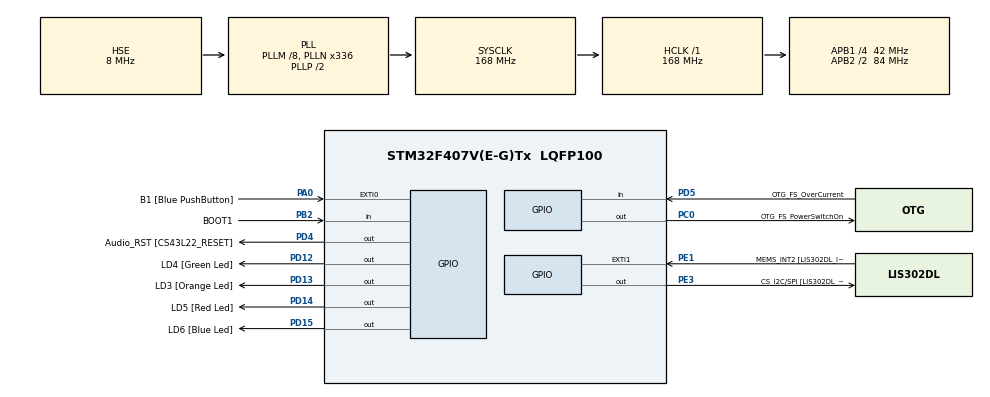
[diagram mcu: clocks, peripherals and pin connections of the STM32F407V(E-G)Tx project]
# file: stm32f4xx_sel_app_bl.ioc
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Mcu.Family=STM32F4
Mcu.Name=STM32F407V(E-G)Tx
Mcu.Package=LQFP100
NVIC.PriorityGroup=NVIC_PRIORITYGROUP_0
PA0-WKUP.GPIO_Label=B1 [Blue PushButton]
PA0-WKUP.GPIO_ModeDefaultEXTI=GPIO_MODE_EVT_RISING
PA0-WKUP.GPIO_PuPd=GPIO_NOPULL
PA0-WKUP.Signal=GPXTI0
PA10.GPIO_Label=OTG_FS_ID
PA10.GPIO_Mode=GPIO_MODE_AF_PP
PA10.GPIO_PuPd=GPIO_NOPULL
PA10.GPIO_Speed=GPIO_SPEED_FREQ_LOW
PA10.Signal=USB_OTG_FS_ID
PA11.GPIO_Label=OTG_FS_DM
PA11.GPIO_Mode=GPIO_MODE_AF_PP
PA11.GPIO_PuPd=GPIO_NOPULL
PA11.GPIO_Speed=GPIO_SPEED_FREQ_LOW
PA11.Signal=USB_OTG_FS_DM
PA12.GPIO_Label=OTG_FS_DP
PA12.GPIO_Mode=GPIO_MODE_AF_PP
PA12.GPIO_PuPd=GPIO_NOPULL
PA12.GPIO_Speed=GPIO_SPEED_FREQ_LOW
PA12.Signal=USB_OTG_FS_DP
PA13.GPIO_Label=SWDIO
PA13.Mode=Serial_Wire
PA13.Signal=SYS_JTMS-SWDIO
PA14.GPIO_Label=SWCLK
PA14.Mode=Serial_Wire
PA14.Signal=SYS_JTCK-SWCLK
PA4.GPIO_Label=I2S3_WS [CS43L22_LRCK]
PA4.GPIO_Mode=GPIO_MODE_AF_PP
PA4.GPIO_PuPd=GPIO_NOPULL
PA4.GPIO_Speed=GPIO_SPEED_FREQ_LOW
PA4.Signal=I2S3_WS
PA5.GPIO_Label=SPI1_SCK [LIS302DL_SCL/SPC]
PA5.GPIO_Mode=GPIO_MODE_AF_PP
PA5.GPIO_PuPd=GPIO_NOPULL
PA5.GPIO_Speed=GPIO_SPEED_FREQ_LOW
PA5.Signal=SPI1_SCK
PA6.GPIO_Label=SPI1_MISO [LIS302DL_SDO]
PA6.GPIO_Mode=GPIO_MODE_AF_PP
PA6.GPIO_PuPd=GPIO_NOPULL
PA6.GPIO_Speed=GPIO_SPEED_FREQ_LOW
PA6.Signal=SPI1_MISO
PA7.GPIO_Label=SPI1_MOSI [LIS302DL_SDA/SDI/SDO]
PA7.GPIO_Mode=GPIO_MODE_AF_PP
PA7.GPIO_PuPd=GPIO_NOPULL
PA7.GPIO_Speed=GPIO_SPEED_FREQ_LOW
PA7.Signal=SPI1_MOSI
PA9.GPIO_Label=VBUS_FS
PA9.GPIO_Mode=GPIO_MODE_INPUT
PA9.GPIO_PuPd=GPIO_NOPULL
PA9.Signal=USB_OTG_FS_VBUS
PB10.GPIO_Label=CLK_IN [MP45DT02_CLK]
PB10.GPIO_Mode=GPIO_MODE_AF_PP
PB10.GPIO_PuPd=GPIO_NOPULL
PB10.GPIO_Speed=GPIO_SPEED_FREQ_LOW
PB10.Signal=I2S2_CK
PB2.GPIO_Label=BOOT1
PB2.GPIO_Mode=GPIO_MODE_INPUT
PB2.GPIO_PuPd=GPIO_NOPULL
PB2.Signal=GPIO_Input
PB3.GPIO_Label=SWO
PB3.Signal=SYS_JTDO-SWO
PB6.GPIO_Label=Audio_SCL [CS43L22_SCL]
PB6.GPIO_Mode=GPIO_MODE_AF_OD
PB6.GPIO_Pu=GPIO_PULLUP
PB6.GPIO_PuPd=GPIO_NOPULL
PB6.GPIO_Speed=GPIO_SPEED_FREQ_LOW
PB6.Signal=I2C1_SCL
PB9.GPIO_Label=Audio_SDA [CS43L22_SDA]
PB9.GPIO_Mode=GPIO_MODE_AF_OD
PB9.GPIO_Pu=GPIO_PULLUP
PB9.GPIO_PuPd=GPIO_NOPULL
PB9.GPIO_Speed=GPIO_SPEED_FREQ_LOW
PB9.Signal=I2C1_SDA
PC0.GPIO_Label=OTG_FS_PowerSwitchOn
PC0.GPIO_PuPd=GPIO_NOPULL
PC0.GPIO_Speed=GPIO_SPEED_FREQ_LOW
PC0.PinState=GPIO_PIN_SET
PC0.Signal=GPIO_Output
PC10.GPIO_Label=I2S3_SCK [CS43L22_SCLK]
PC10.GPIO_Mode=GPIO_MODE_AF_PP
PC10.GPIO_PuPd=GPIO_NOPULL
PC10.GPIO_Speed=GPIO_SPEED_FREQ_LOW
PC10.Signal=I2S3_CK
PC12.GPIO_Label=I2S3_SD [CS43L22_SDIN]
PC12.GPIO_Mode=GPIO_MODE_AF_PP
PC12.GPIO_PuPd=GPIO_NOPULL
PC12.GPIO_Speed=GPIO_SPEED_FREQ_LOW
PC12.Signal=I2S3_SD
PC14-OSC32_IN.GPIO_Label=PC14-OSC32_IN
PC14-OSC32_IN.Mode=LSE-External-Oscillator
PC14-OSC32_IN.Signal=RCC_OSC32_IN
PC15-OSC32_OUT.GPIO_Label=PC15-OSC32_OUT
PC15-OSC32_OUT.Mode=LSE-External-Oscillator
PC15-OSC32_OUT.Signal=RCC_OSC32_OUT
PC3.GPIO_Label=PDM_OUT [MP45DT02_DOUT]
PC3.GPIO_Mode=GPIO_MODE_AF_PP
PC3.GPIO_PuPd=GPIO_NOPULL
PC3.GPIO_Speed=GPIO_SPEED_FREQ_LOW
PC3.Signal=I2S2_SD
PC7.GPIO_Label=I2S3_MCK [CS43L22_MCLK]
PC7.GPIO_Mode=GPIO_MODE_AF_PP
PC7.GPIO_PuPd=GPIO_NOPULL
PC7.GPIO_Speed=GPIO_SPEED_FREQ_LOW
PC7.Signal=I2S3_MCK
PD12.GPIO_Label=LD4 [Green Led]
PD12.GPIO_PuPd=GPIO_NOPULL
PD12.GPIO_Speed=GPIO_SPEED_FREQ_LOW
PD12.Signal=GPIO_Output
PD13.GPIO_Label=LD3 [Orange Led]
PD13.GPIO_PuPd=GPIO_NOPULL
PD13.GPIO_Speed=GPIO_SPEED_FREQ_LOW
PD13.Signal=GPIO_Output
PD14.GPIO_Label=LD5 [Red Led]
PD14.GPIO_PuPd=GPIO_NOPULL
PD14.GPIO_Speed=GPIO_SPEED_FREQ_LOW
PD14.Signal=GPIO_Output
PD15.GPIO_Label=LD6 [Blue Led]
PD15.GPIO_PuPd=GPIO_NOPULL
PD15.GPIO_Speed=GPIO_SPEED_FREQ_LOW
PD15.Signal=GPIO_Output
PD4.GPIO_Label=Audio_RST [CS43L22_RESET]
PD4.GPIO_PuPd=GPIO_NOPULL
PD4.GPIO_Speed=GPIO_SPEED_FREQ_LOW
PD4.Signal=GPIO_Output
PD5.GPIO_Label=OTG_FS_OverCurrent
PD5.GPIO_Mode=GPIO_MODE_INPUT
PD5.GPIO_PuPd=GPIO_NOPULL
PD5.Signal=GPIO_Input
PE1.GPIO_Label=MEMS_INT2 [LIS302DL_INT2]
PE1.GPIO_ModeDefaultEXTI=GPIO_MODE_EVT_RISING
PE1.GPIO_PuPd=GPIO_NOPULL
PE1.Signal=GPXTI1
PE3.GPIO_Label=CS_I2C/SPI [LIS302DL_CS_I2C/SPI]
PE3.GPIO_PuPd=GPIO_NOPULL
PE3.GPIO_Speed=GPIO_SPEED_FREQ_LOW
PE3.Signal=GPIO_Output
PH0-OSC_IN.GPIO_Label=PH0-OSC_IN
PH0-OSC_IN.Mode=HSE-External-Oscillator
PH0-OSC_IN.Signal=RCC_OSC_IN
PH1-OSC_OUT.GPIO_Label=PH1-OSC_OUT
PH1-OSC_OUT.Mode=HSE-External-Oscillator
PH1-OSC_OUT.Signal=RCC_OSC_OUT
ProjectManager.HeapSize=0x200
ProjectManager.StackSize=0x400
ProjectManager.TargetToolchain=STM32CubeIDE
RCC.48MHZClocksFreq_Value=48000000
RCC.AHBFreq_Value=168000000
RCC.APB1CLKDivider=RCC_HCLK_DIV4
RCC.APB1Freq_Value=42000000
RCC.APB1TimFreq_Value=84000000
RCC.APB2CLKDivider=RCC_HCLK_DIV2
RCC.APB2Freq_Value=84000000
RCC.APB2TimFreq_Value=168000000
RCC.CortexFreq_Value=168000000
RCC.HCLKFreq_Value=168000000
RCC.HSE_VALUE=8000000
RCC.HSI_VALUE=16000000
RCC.PLLM=8
RCC.PLLN=336
RCC.PLLQ=7
RCC.PLLSourceVirtual=RCC_PLLSOURCE_HSE
RCC.SYSCLKFreq_VALUE=168000000
RCC.SYSCLKSource=RCC_SYSCLKSOURCE_PLLCLK
RCC.VCOOutputFreq_Value=336000000
board=STM32F407G-DISC1

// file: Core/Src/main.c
/* USER CODE BEGIN Header */
/**
  ******************************************************************************
  * @file           : main.c
  * @brief          : Main program body
  ******************************************************************************
  * @attention
  *
  * Copyright (c) 2026 STMicroelectronics.
  * All rights reserved.
  *
  * This software is licensed under terms that can be found in the LICENSE file
  * in the root directory of this software component.
  * If no LICENSE file comes with this software, it is provided AS-IS.
  *
  ******************************************************************************
  */
/* USER CODE END Header */
#include "main.h"

/* USER CODE BEGIN Includes */
#include "bl_sm.h"
#include "debug_uart.h"
#include "boot_policy.h"
#include <stdio.h>
/* USER CODE END Includes */

void SystemClock_Config(void);
static void MX_GPIO_Init(void);

int main(void)
{

  /* MCU Configuration--------------------------------------------------------*/

  /* Reset of all peripherals, Initializes the Flash interface and the Systick. */
  HAL_Init();

  /* USER CODE BEGIN Init */
  boot_policy_usr_btn_init();
  /* USER CODE END Init */

  /* Configure the system clock */
  SystemClock_Config();

  /* USER CODE BEGIN SysInit */
  boot_policy_usr_btn_poll();
  /* USER CODE END SysInit */

  /* Initialize all configured peripherals */
  MX_GPIO_Init();

  /* USER CODE BEGIN 2 */
  boot_policy_sample_at_reset();

  debug_uart_init();
  printf("\r\n=== stm32f4xx_sel_app_bl ===\r\n");
  printf("SYSCLK=%lu Hz (HCLK=%lu, PCLK1=%lu, PCLK2=%lu)\r\n",
         (unsigned long)HAL_RCC_GetSysClockFreq(),
         (unsigned long)HAL_RCC_GetHCLKFreq(),
         (unsigned long)HAL_RCC_GetPCLK1Freq(),
         (unsigned long)HAL_RCC_GetPCLK2Freq());

  bl_sm_run();
  /* USER CODE END 2 */

  /* Infinite loop */
  while (1)
  {

  }
}

void SystemClock_Config(void)
{
  RCC_OscInitTypeDef RCC_OscInitStruct = {0};
  RCC_ClkInitTypeDef RCC_ClkInitStruct = {0};

  /** Configure the main internal regulator output voltage
  */
  __HAL_RCC_PWR_CLK_ENABLE();
  __HAL_PWR_VOLTAGESCALING_CONFIG(PWR_REGULATOR_VOLTAGE_SCALE1);

  /** Initializes the RCC Oscillators according to the specified parameters
  * in the RCC_OscInitTypeDef structure.
  */
  /** HSE 8 MHz → PLL VCO 336 MHz → SYSCLK 168 MHz (PCLK1 42 MHz, PCLK2 84 MHz). */
  RCC_OscInitStruct.OscillatorType = RCC_OSCILLATORTYPE_HSE;
  RCC_OscInitStruct.HSEState = RCC_HSE_ON;
  RCC_OscInitStruct.PLL.PLLState = RCC_PLL_ON;
  RCC_OscInitStruct.PLL.PLLSource = RCC_PLLSOURCE_HSE;
  RCC_OscInitStruct.PLL.PLLM = 8;
  RCC_OscInitStruct.PLL.PLLN = 336;
  RCC_OscInitStruct.PLL.PLLP = RCC_PLLP_DIV2;
  RCC_OscInitStruct.PLL.PLLQ = 7;
  if (HAL_RCC_OscConfig(&RCC_OscInitStruct) != HAL_OK)
  {
    Error_Handler();
  }

  /** Initializes the CPU, AHB and APB buses clocks
  */
  RCC_ClkInitStruct.ClockType = RCC_CLOCKTYPE_HCLK|RCC_CLOCKTYPE_SYSCLK
                              |RCC_CLOCKTYPE_PCLK1|RCC_CLOCKTYPE_PCLK2;
  RCC_ClkInitStruct.SYSCLKSource = RCC_SYSCLKSOURCE_PLLCLK;
  RCC_ClkInitStruct.AHBCLKDivider = RCC_SYSCLK_DIV1;
  RCC_ClkInitStruct.APB1CLKDivider = RCC_HCLK_DIV4;
  RCC_ClkInitStruct.APB2CLKDivider = RCC_HCLK_DIV2;

  if (HAL_RCC_ClockConfig(&RCC_ClkInitStruct, FLASH_LATENCY_5) != HAL_OK)
  {
    Error_Handler();
  }

  SystemCoreClockUpdate();
  if (HAL_InitTick(TICK_INT_PRIORITY) != HAL_OK)
  {
    Error_Handler();
  }
}

static void MX_GPIO_Init(void)
{
  GPIO_InitTypeDef GPIO_InitStruct = {0};

  /* GPIO Ports Clock Enable */
  __HAL_RCC_GPIOE_CLK_ENABLE();
  __HAL_RCC_GPIOC_CLK_ENABLE();
  __HAL_RCC_GPIOH_CLK_ENABLE();
  __HAL_RCC_GPIOA_CLK_ENABLE();
  __HAL_RCC_GPIOB_CLK_ENABLE();
  __HAL_RCC_GPIOD_CLK_ENABLE();

  /*Configure GPIO pin Output Level */
  HAL_GPIO_WritePin(CS_I2C_SPI_GPIO_Port, CS_I2C_SPI_Pin, GPIO_PIN_SET);

  /*Configure GPIO pin Output Level */
  HAL_GPIO_WritePin(OTG_FS_PowerSwitchOn_GPIO_Port, OTG_FS_PowerSwitchOn_Pin, GPIO_PIN_SET);

  /*Configure GPIO pin Output Level */
  HAL_GPIO_WritePin(GPIOD, LD4_Pin|LD3_Pin|LD5_Pin|LD6_Pin
                          |Audio_RST_Pin, GPIO_PIN_RESET);

  /*Configure GPIO pin : CS_I2C_SPI_Pin */
  GPIO_InitStruct.Pin = CS_I2C_SPI_Pin;
  GPIO_InitStruct.Mode = GPIO_MODE_OUTPUT_PP;
  GPIO_InitStruct.Pull = GPIO_NOPULL;
  GPIO_InitStruct.Speed = GPIO_SPEED_FREQ_LOW;
  HAL_GPIO_Init(CS_I2C_SPI_GPIO_Port, &GPIO_InitStruct);

  /*Configure GPIO pin : OTG_FS_PowerSwitchOn_Pin */
  GPIO_InitStruct.Pin = OTG_FS_PowerSwitchOn_Pin;
  GPIO_InitStruct.Mode = GPIO_MODE_OUTPUT_PP;
  GPIO_InitStruct.Pull = GPIO_NOPULL;
  GPIO_InitStruct.Speed = GPIO_SPEED_FREQ_LOW;
  HAL_GPIO_Init(OTG_FS_PowerSwitchOn_GPIO_Port, &GPIO_InitStruct);

  /*Configure GPIO pin : PDM_OUT_Pin */
  GPIO_InitStruct.Pin = PDM_OUT_Pin;
  GPIO_InitStruct.Mode = GPIO_MODE_AF_PP;
  GPIO_InitStruct.Pull = GPIO_NOPULL;
  GPIO_InitStruct.Speed = GPIO_SPEED_FREQ_LOW;
  GPIO_InitStruct.Alternate = GPIO_AF5_SPI2;
  HAL_GPIO_Init(PDM_OUT_GPIO_Port, &GPIO_InitStruct);

  /*Configure GPIO pin : I2S3_WS_Pin */
  GPIO_InitStruct.Pin = I2S3_WS_Pin;
  GPIO_InitStruct.Mode = GPIO_MODE_AF_PP;
  GPIO_InitStruct.Pull = GPIO_NOPULL;
  GPIO_InitStruct.Speed = GPIO_SPEED_FREQ_LOW;
  GPIO_InitStruct.Alternate = GPIO_AF6_SPI3;
  HAL_GPIO_Init(I2S3_WS_GPIO_Port, &GPIO_InitStruct);

  /*Configure GPIO pins : SPI1_SCK_Pin SPI1_MISO_Pin SPI1_MOSI_Pin */
  GPIO_InitStruct.Pin = SPI1_SCK_Pin|SPI1_MISO_Pin|SPI1_MOSI_Pin;
  GPIO_InitStruct.Mode = GPIO_MODE_AF_PP;
  GPIO_InitStruct.Pull = GPIO_NOPULL;
  GPIO_InitStruct.Speed = GPIO_SPEED_FREQ_LOW;
  GPIO_InitStruct.Alternate = GPIO_AF5_SPI1;
  HAL_GPIO_Init(GPIOA, &GPIO_InitStruct);

  /*Configure GPIO pin : BOOT1_Pin */
  GPIO_InitStruct.Pin = BOOT1_Pin;
  GPIO_InitStruct.Mode = GPIO_MODE_INPUT;
  GPIO_InitStruct.Pull = GPIO_NOPULL;
  HAL_GPIO_Init(BOOT1_GPIO_Port, &GPIO_InitStruct);

  /*Configure GPIO pin : CLK_IN_Pin */
  GPIO_InitStruct.Pin = CLK_IN_Pin;
  GPIO_InitStruct.Mode = GPIO_MODE_AF_PP;
  GPIO_InitStruct.Pull = GPIO_NOPULL;
  GPIO_InitStruct.Speed = GPIO_SPEED_FREQ_LOW;
  GPIO_InitStruct.Alternate = GPIO_AF5_SPI2;
  HAL_GPIO_Init(CLK_IN_GPIO_Port, &GPIO_InitStruct);

  /*Configure GPIO pins : LD4_Pin LD3_Pin LD5_Pin LD6_Pin
                           Audio_RST_Pin */
  GPIO_InitStruct.Pin = LD4_Pin|LD3_Pin|LD5_Pin|LD6_Pin
                          |Audio_RST_Pin;
  GPIO_InitStruct.Mode = GPIO_MODE_OUTPUT_PP;
  GPIO_InitStruct.Pull = GPIO_NOPULL;
  GPIO_InitStruct.Speed = GPIO_SPEED_FREQ_LOW;
  HAL_GPIO_Init(GPIOD, &GPIO_InitStruct);

  /*Configure GPIO pins : I2S3_MCK_Pin I2S3_SCK_Pin I2S3_SD_Pin */
  GPIO_InitStruct.Pin = I2S3_MCK_Pin|I2S3_SCK_Pin|I2S3_SD_Pin;
  GPIO_InitStruct.Mode = GPIO_MODE_AF_PP;
  GPIO_InitStruct.Pull = GPIO_NOPULL;
  GPIO_InitStruct.Speed = GPIO_SPEED_FREQ_LOW;
  GPIO_InitStruct.Alternate = GPIO_AF6_SPI3;
  HAL_GPIO_Init(GPIOC, &GPIO_InitStruct);

  /*Configure GPIO pin : VBUS_FS_Pin */
  GPIO_InitStruct.Pin = VBUS_FS_Pin;
  GPIO_InitStruct.Mode = GPIO_MODE_INPUT;
  GPIO_InitStruct.Pull = GPIO_NOPULL;
  HAL_GPIO_Init(VBUS_FS_GPIO_Port, &GPIO_InitStruct);

  /*Configure GPIO pins : OTG_FS_ID_Pin OTG_FS_DM_Pin OTG_FS_DP_Pin */
  GPIO_InitStruct.Pin = OTG_FS_ID_Pin|OTG_FS_DM_Pin|OTG_FS_DP_Pin;
  GPIO_InitStruct.Mode = GPIO_MODE_AF_PP;
  GPIO_InitStruct.Pull = GPIO_NOPULL;
  GPIO_InitStruct.Speed = GPIO_SPEED_FREQ_LOW;
  GPIO_InitStruct.Alternate = GPIO_AF10_OTG_FS;
  HAL_GPIO_Init(GPIOA, &GPIO_InitStruct);

  /*Configure GPIO pin : OTG_FS_OverCurrent_Pin */
  GPIO_InitStruct.Pin = OTG_FS_OverCurrent_Pin;
  GPIO_InitStruct.Mode = GPIO_MODE_INPUT;
  GPIO_InitStruct.Pull = GPIO_NOPULL;
  HAL_GPIO_Init(OTG_FS_OverCurrent_GPIO_Port, &GPIO_InitStruct);

  /*Configure GPIO pins : Audio_SCL_Pin Audio_SDA_Pin */
  GPIO_InitStruct.Pin = Audio_SCL_Pin|Audio_SDA_Pin;
  GPIO_InitStruct.Mode = GPIO_MODE_AF_OD;
  GPIO_InitStruct.Pull = GPIO_PULLUP;
  GPIO_InitStruct.Speed = GPIO_SPEED_FREQ_LOW;
  GPIO_InitStruct.Alternate = GPIO_AF4_I2C1;
  HAL_GPIO_Init(GPIOB, &GPIO_InitStruct);

  /*Configure GPIO pin : MEMS_INT2_Pin */
  GPIO_InitStruct.Pin = MEMS_INT2_Pin;
  GPIO_InitStruct.Mode = GPIO_MODE_EVT_RISING;
  GPIO_InitStruct.Pull = GPIO_NOPULL;
  HAL_GPIO_Init(MEMS_INT2_GPIO_Port, &GPIO_InitStruct);

  /* USER CODE BEGIN MX_GPIO_Init_2 */
  /* HAT: PE3 touch CS, PE4 SD CS — deselect before app handoff */
  HAL_GPIO_WritePin(GPIOE, GPIO_PIN_3 | GPIO_PIN_4, GPIO_PIN_SET);
  GPIO_InitStruct.Pin = GPIO_PIN_3 | GPIO_PIN_4;
  GPIO_InitStruct.Mode = GPIO_MODE_OUTPUT_PP;
  GPIO_InitStruct.Pull = GPIO_NOPULL;
  GPIO_InitStruct.Speed = GPIO_SPEED_FREQ_LOW;
  HAL_GPIO_Init(GPIOE, &GPIO_InitStruct);

  /* USER CODE END MX_GPIO_Init_2 */
}

void Error_Handler(void)
{
  __disable_irq();
  while (1)
  {
  }
}
